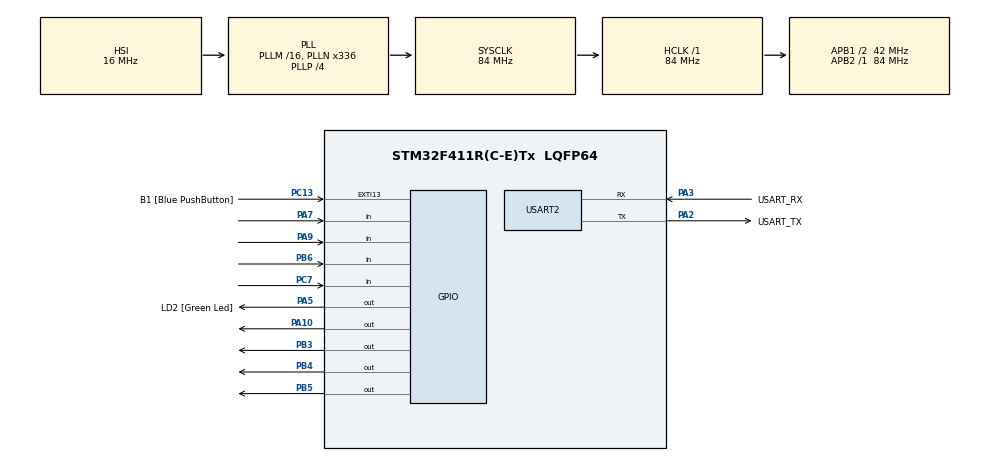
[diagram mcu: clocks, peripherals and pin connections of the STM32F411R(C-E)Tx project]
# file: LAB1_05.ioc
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Mcu.Family=STM32F4
Mcu.Name=STM32F411R(C-E)Tx
Mcu.Package=LQFP64
NVIC.PriorityGroup=NVIC_PRIORITYGROUP_0
PA10.GPIO_ModeDefaultOutputPP=GPIO_MODE_OUTPUT_OD
PA10.GPIO_PuPd=GPIO_NOPULL
PA10.Signal=GPIO_Output
PA13.GPIO_Label=TMS
PA13.Mode=Serial_Wire
PA13.Signal=SYS_JTMS-SWDIO
PA14.GPIO_Label=TCK
PA14.Mode=Serial_Wire
PA14.Signal=SYS_JTCK-SWCLK
PA2.GPIO_Label=USART_TX
PA2.Mode=Asynchronous
PA2.Signal=USART2_TX
PA3.GPIO_Label=USART_RX
PA3.Mode=Asynchronous
PA3.Signal=USART2_RX
PA5.GPIO_Label=LD2 [Green Led]
PA5.Signal=GPIO_Output
PA7.GPIO_PuPd=GPIO_PULLUP
PA7.Signal=GPIO_Input
PA9.GPIO_PuPd=GPIO_PULLUP
PA9.Signal=GPIO_Input
PB3.GPIO_ModeDefaultOutputPP=GPIO_MODE_OUTPUT_OD
PB3.GPIO_PuPd=GPIO_NOPULL
PB3.Signal=GPIO_Output
PB4.GPIO_ModeDefaultOutputPP=GPIO_MODE_OUTPUT_OD
PB4.GPIO_PuPd=GPIO_NOPULL
PB4.Signal=GPIO_Output
PB5.GPIO_ModeDefaultOutputPP=GPIO_MODE_OUTPUT_OD
PB5.GPIO_PuPd=GPIO_NOPULL
PB5.Signal=GPIO_Output
PB6.GPIO_PuPd=GPIO_PULLUP
PB6.Signal=GPIO_Input
PC13-ANTI_TAMP.GPIO_Label=B1 [Blue PushButton]
PC13-ANTI_TAMP.GPIO_ModeDefaultEXTI=GPIO_MODE_IT_FALLING
PC13-ANTI_TAMP.Signal=GPXTI13
PC14-OSC32_IN.Mode=LSE-External-Oscillator
PC14-OSC32_IN.Signal=RCC_OSC32_IN
PC15-OSC32_OUT.Mode=LSE-External-Oscillator
PC15-OSC32_OUT.Signal=RCC_OSC32_OUT
PC7.GPIO_PuPd=GPIO_PULLUP
PC7.Signal=GPIO_Input
PH0\ -\ OSC_IN.Mode=HSE-External-Clock-Source
PH0\ -\ OSC_IN.Signal=RCC_OSC_IN
PH1\ -\ OSC_OUT.Mode=HSE-External-Clock-Source
PH1\ -\ OSC_OUT.Signal=RCC_OSC_OUT
ProjectManager.HeapSize=0x200
ProjectManager.StackSize=0x400
ProjectManager.TargetToolchain=STM32CubeIDE
RCC.48MHZClocksFreq_Value=84000000
RCC.AHBFreq_Value=84000000
RCC.APB1CLKDivider=RCC_HCLK_DIV2
RCC.APB1Freq_Value=42000000
RCC.APB1TimFreq_Value=84000000
RCC.APB2Freq_Value=84000000
RCC.APB2TimFreq_Value=84000000
RCC.CortexFreq_Value=84000000
RCC.FLatency-AdvancedSettings=FLASH_LATENCY_2
RCC.HCLKFreq_Value=84000000
RCC.HSE_VALUE=8000000
RCC.HSI_VALUE=16000000
RCC.PLLN=336
RCC.PLLP=RCC_PLLP_DIV4
RCC.SYSCLKFreq_VALUE=84000000
RCC.SYSCLKSource=RCC_SYSCLKSOURCE_PLLCLK
RCC.VCOOutputFreq_Value=336000000
USART2.VirtualMode=VM_ASYNC
board=NUCLEO-F411RE

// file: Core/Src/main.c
/* USER CODE BEGIN Header */
/**
 ******************************************************************************
 * @file           : main.c
 * @brief          : Main program body
 ******************************************************************************
 * @attention
 *
 * Copyright (c) 2023 STMicroelectronics.
 * All rights reserved.
 *
 * This software is licensed under terms that can be found in the LICENSE file
 * in the root directory of this software component.
 * If no LICENSE file comes with this software, it is provided AS-IS.
 *
 ******************************************************************************
 */
/* USER CODE END Header */
#include "main.h"

UART_HandleTypeDef huart2;

/* USER CODE BEGIN PV */
typedef struct _PortPin {
	GPIO_TypeDef *PORT;
	uint16_t PIN;

} PortPin;

PortPin R[4] = { { GPIOA, GPIO_PIN_10 }, { GPIOB, GPIO_PIN_3 }, { GPIOB,
GPIO_PIN_5 }, { GPIOB, GPIO_PIN_4 }, };

PortPin L[4] = { { GPIOA, GPIO_PIN_9 }, { GPIOC, GPIO_PIN_7 }, { GPIOB,
GPIO_PIN_6 }, { GPIOA, GPIO_PIN_7 }, };
uint16_t ButtonMatrix = 0;
uint16_t ButtonMatrix_L = 0;
int16_t Test = 0;
static int state = 0;
/* USER CODE END PV */

void SystemClock_Config(void);
static void MX_GPIO_Init(void);
static void MX_USART2_UART_Init(void);

int main(void) {

	/* MCU Configuration--------------------------------------------------------*/

	/* Reset of all peripherals, Initializes the Flash interface and the Systick. */
	HAL_Init();

	/* Configure the system clock */
	SystemClock_Config();

	/* Initialize all configured peripherals */
	MX_GPIO_Init();
	MX_USART2_UART_Init();

	/* Infinite loop */
	/* USER CODE BEGIN WHILE */
	while (1) {

		static uint32_t timestamp = 0;
		if (HAL_GetTick() >= timestamp) {
			timestamp = HAL_GetTick() + 10;
			ReadMatrixButton_1Row();
		}
		if (ButtonMatrix_L != ButtonMatrix && ButtonMatrix != 0) {
			Test = state;
			switch (state) {
			default:
			case 0:
				if(state == 0){

				}
				if (ButtonMatrix == 512) {
					state = 1;
				} else if (ButtonMatrix == 4096) {
					state = 0;
				} else if (ButtonMatrix > 0) {
					state = 13;
				}
				break;
			case 1:
				if (ButtonMatrix == 2) {
					state = 2;
				} else if (ButtonMatrix == 4096) {
					state = 0;
				} else if (ButtonMatrix > 0) {
					state = 13;
				}
				break;
			case 2:
				if (ButtonMatrix == 1024) {
					state = 3;
				} else if (ButtonMatrix == 4096) {
					state = 0;
				} else if (ButtonMatrix > 0) {
					state = 13;
				}
				break;
			case 3:
				if (ButtonMatrix == 2) {
					state = 4;
				} else if (ButtonMatrix == 4096) {
					state = 0;
				} else if (ButtonMatrix > 0) {
					state = 13;
				}
				break;
			case 4:
				if (ButtonMatrix == 8) {
					state = 5;
				} else if (ButtonMatrix == 4096) {
					state = 0;
				} else if (ButtonMatrix > 0) {
					state = 13;
				}
				break;
			case 5:
				if (ButtonMatrix == 32) {
					state = 6;
				} else if (ButtonMatrix == 4096) {
					state = 0;
				} else if (ButtonMatrix > 0) {
					state = 13;
				}
				break;
			case 6:
				if (ButtonMatrix == 8) {
					state = 7;
				} else if (ButtonMatrix == 4096) {
					state = 0;
				} else if (ButtonMatrix > 0) {
					state = 13;
				}
				break;
			case 7:
				if (ButtonMatrix == 8) {
					state = 8;
				} else if (ButtonMatrix == 4096) {
					state = 0;
				} else if (ButtonMatrix > 0) {
					state = 13;
				}
				break;
			case 8:
				if (ButtonMatrix == 8) {
					state = 9;
				} else if (ButtonMatrix == 4096) {
					state = 0;
				} else if (ButtonMatrix > 0) {
					state = 13;
				}
				break;
			case 9:
				if (ButtonMatrix == 8) {
					state = 10;
				} else if (ButtonMatrix == 4096) {
					state = 0;
				} else if (ButtonMatrix > 0) {
					state = 13;
				}
				break;
			case 10:
				if (ButtonMatrix == 32) {
					state = 11;
				} else if (ButtonMatrix == 4096) {
					state = 0;
				} else if (ButtonMatrix > 0) {
					state = 13;
				}
				break;
			case 11:
				if (ButtonMatrix == 32768) {
					HAL_GPIO_WritePin(GPIOA, GPIO_PIN_5, GPIO_PIN_SET);
					state = 12;
				} else if (ButtonMatrix == 4096) {
					state = 0;
				} else if (ButtonMatrix > 0) {
					state = 13;
				}
				break;
			case 12:
				if (state == 12) {

				}
				if (ButtonMatrix == 4096) {
					HAL_GPIO_WritePin(GPIOA, GPIO_PIN_5 , GPIO_PIN_RESET);
					state = 0;
				}
				break;
			case 13:
				if (ButtonMatrix == 4096) {
					state = 0;
				}
				break;
			}
		}

		ButtonMatrix_L = ButtonMatrix;
	}
	/* USER CODE END WHILE */

}

void SystemClock_Config(void) {
	RCC_OscInitTypeDef RCC_OscInitStruct = { 0 };
	RCC_ClkInitTypeDef RCC_ClkInitStruct = { 0 };

	/** Configure the main internal regulator output voltage
	 */
	__HAL_RCC_PWR_CLK_ENABLE();
	__HAL_PWR_VOLTAGESCALING_CONFIG(PWR_REGULATOR_VOLTAGE_SCALE1);

	/** Initializes the RCC Oscillators according to the specified parameters
	 * in the RCC_OscInitTypeDef structure.
	 */
	RCC_OscInitStruct.OscillatorType = RCC_OSCILLATORTYPE_HSI;
	RCC_OscInitStruct.HSIState = RCC_HSI_ON;
	RCC_OscInitStruct.HSICalibrationValue = RCC_HSICALIBRATION_DEFAULT;
	RCC_OscInitStruct.PLL.PLLState = RCC_PLL_ON;
	RCC_OscInitStruct.PLL.PLLSource = RCC_PLLSOURCE_HSI;
	RCC_OscInitStruct.PLL.PLLM = 16;
	RCC_OscInitStruct.PLL.PLLN = 336;
	RCC_OscInitStruct.PLL.PLLP = RCC_PLLP_DIV4;
	RCC_OscInitStruct.PLL.PLLQ = 4;
	if (HAL_RCC_OscConfig(&RCC_OscInitStruct) != HAL_OK) {
		Error_Handler();
	}

	/** Initializes the CPU, AHB and APB buses clocks
	 */
	RCC_ClkInitStruct.ClockType = RCC_CLOCKTYPE_HCLK | RCC_CLOCKTYPE_SYSCLK
			| RCC_CLOCKTYPE_PCLK1 | RCC_CLOCKTYPE_PCLK2;
	RCC_ClkInitStruct.SYSCLKSource = RCC_SYSCLKSOURCE_PLLCLK;
	RCC_ClkInitStruct.AHBCLKDivider = RCC_SYSCLK_DIV1;
	RCC_ClkInitStruct.APB1CLKDivider = RCC_HCLK_DIV2;
	RCC_ClkInitStruct.APB2CLKDivider = RCC_HCLK_DIV1;

	if (HAL_RCC_ClockConfig(&RCC_ClkInitStruct, FLASH_LATENCY_2) != HAL_OK) {
		Error_Handler();
	}
}

static void MX_USART2_UART_Init(void) {

	huart2.Instance = USART2;
	huart2.Init.BaudRate = 115200;
	huart2.Init.WordLength = UART_WORDLENGTH_8B;
	huart2.Init.StopBits = UART_STOPBITS_1;
	huart2.Init.Parity = UART_PARITY_NONE;
	huart2.Init.Mode = UART_MODE_TX_RX;
	huart2.Init.HwFlowCtl = UART_HWCONTROL_NONE;
	huart2.Init.OverSampling = UART_OVERSAMPLING_16;
	if (HAL_UART_Init(&huart2) != HAL_OK) {
		Error_Handler();
	}

}

static void MX_GPIO_Init(void) {
	GPIO_InitTypeDef GPIO_InitStruct = { 0 };

	/* GPIO Ports Clock Enable */
	__HAL_RCC_GPIOC_CLK_ENABLE();
	__HAL_RCC_GPIOH_CLK_ENABLE();
	__HAL_RCC_GPIOA_CLK_ENABLE();
	__HAL_RCC_GPIOB_CLK_ENABLE();

	/*Configure GPIO pin Output Level */
	HAL_GPIO_WritePin(GPIOA, LD2_Pin | GPIO_PIN_10, GPIO_PIN_RESET);

	/*Configure GPIO pin Output Level */
	HAL_GPIO_WritePin(GPIOB, GPIO_PIN_3 | GPIO_PIN_4 | GPIO_PIN_5,
			GPIO_PIN_RESET);

	/*Configure GPIO pin : B1_Pin */
	GPIO_InitStruct.Pin = B1_Pin;
	GPIO_InitStruct.Mode = GPIO_MODE_IT_FALLING;
	GPIO_InitStruct.Pull = GPIO_NOPULL;
	HAL_GPIO_Init(B1_GPIO_Port, &GPIO_InitStruct);

	/*Configure GPIO pin : LD2_Pin */
	GPIO_InitStruct.Pin = LD2_Pin;
	GPIO_InitStruct.Mode = GPIO_MODE_OUTPUT_PP;
	GPIO_InitStruct.Pull = GPIO_NOPULL;
	GPIO_InitStruct.Speed = GPIO_SPEED_FREQ_LOW;
	HAL_GPIO_Init(LD2_GPIO_Port, &GPIO_InitStruct);

	/*Configure GPIO pins : PA7 PA9 */
	GPIO_InitStruct.Pin = GPIO_PIN_7 | GPIO_PIN_9;
	GPIO_InitStruct.Mode = GPIO_MODE_INPUT;
	GPIO_InitStruct.Pull = GPIO_PULLUP;
	HAL_GPIO_Init(GPIOA, &GPIO_InitStruct);

	/*Configure GPIO pin : PC7 */
	GPIO_InitStruct.Pin = GPIO_PIN_7;
	GPIO_InitStruct.Mode = GPIO_MODE_INPUT;
	GPIO_InitStruct.Pull = GPIO_PULLUP;
	HAL_GPIO_Init(GPIOC, &GPIO_InitStruct);

	/*Configure GPIO pin : PA10 */
	GPIO_InitStruct.Pin = GPIO_PIN_10;
	GPIO_InitStruct.Mode = GPIO_MODE_OUTPUT_OD;
	GPIO_InitStruct.Pull = GPIO_NOPULL;
	GPIO_InitStruct.Speed = GPIO_SPEED_FREQ_LOW;
	HAL_GPIO_Init(GPIOA, &GPIO_InitStruct);

	/*Configure GPIO pins : PB3 PB4 PB5 */
	GPIO_InitStruct.Pin = GPIO_PIN_3 | GPIO_PIN_4 | GPIO_PIN_5;
	GPIO_InitStruct.Mode = GPIO_MODE_OUTPUT_OD;
	GPIO_InitStruct.Pull = GPIO_NOPULL;
	GPIO_InitStruct.Speed = GPIO_SPEED_FREQ_LOW;
	HAL_GPIO_Init(GPIOB, &GPIO_InitStruct);

	/*Configure GPIO pin : PB6 */
	GPIO_InitStruct.Pin = GPIO_PIN_6;
	GPIO_InitStruct.Mode = GPIO_MODE_INPUT;
	GPIO_InitStruct.Pull = GPIO_PULLUP;
	HAL_GPIO_Init(GPIOB, &GPIO_InitStruct);

}

/* USER CODE BEGIN 4 */
void ReadMatrixButton_1Row() {
	static uint8_t X = 0;
	register int i;
	for (i = 0; i < 4; i++) {
		if (HAL_GPIO_ReadPin(L[i].PORT, L[i].PIN)) {
			ButtonMatrix &= ~(1 << (X * 4 + i));
		} else {
			ButtonMatrix |= 1 << (X * 4 + i);
		}
	}
	HAL_GPIO_WritePin(R[X].PORT, R[X].PIN, 1);
	HAL_GPIO_WritePin(R[(X + 1) % 4].PORT, R[(X + 1) % 4].PIN, 0);
	X++;
	X %= 4;
}
/* USER CODE END 4 */

void Error_Handler(void) {
	__disable_irq();
	while (1) {
	}
}
